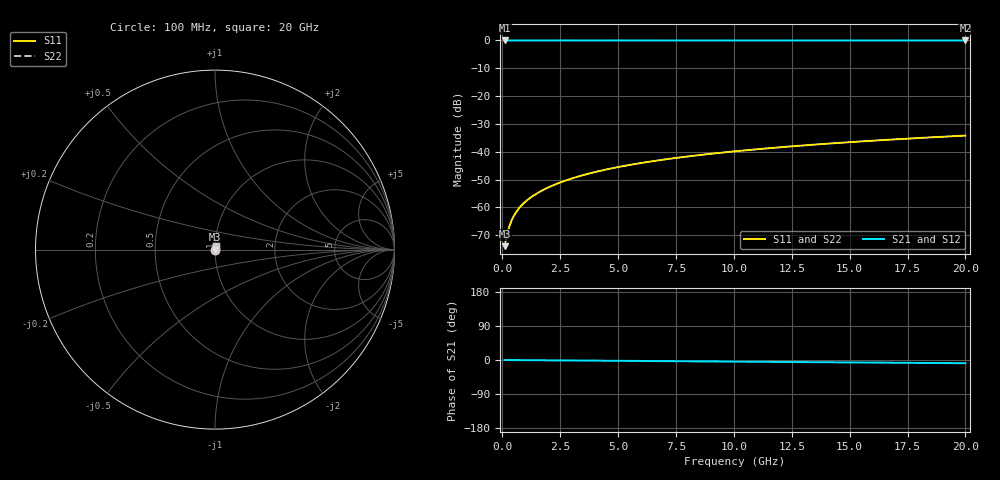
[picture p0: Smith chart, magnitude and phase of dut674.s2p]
! Touchstone file exported from HFSS 2026.1.0
!  File:  C:/ffzhzh/LocalFiles/Ansys_Project_Files/temp_train_TSV_674_1783027193_55676.aedt
!  Generated:  05:21:56 AM Jul  3, 2026
!  Design:  TSV
!  Project:  temp_train_TSV_674_1783027193_55676
! Variables:
!  h_bsmrdl = 2um
!  h_ox = 20um
!  h_rdl = 5um
!  h_sub = 84.27um
!  h_tmrdl = 5um
!  h_tsv = 84.27um
!  h_via = 3um
!  l_bsmrdl = 300um
!  l_sub = 419.1um
!  l_tmrdl = 200um
!  m_sub = 200um
!  pitch = 44.98um
!  r_tsv = 9.55um
!  s_tmrdl = 10um
!  w_bsmrdl = 18um
!  w_sub = 500um
!  w_tmrdl = 12um
!  x_tsv_center1 = 206um
!  x_tsv_center2 = 524um
!  x_tsv_center3 = 736um
!  x_tsv_center4 = 1054um
!  x_tsv_center5 = 1266um
!  x_tsv_center6 = 1584um
# GHz S MA R 50.000000
! Terminal data exported
! Port[1] = TSV1_1_T1
! Port[2] = TSV1_1_T2
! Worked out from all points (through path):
!   200 points, 100 MHz to 20 GHz, reference 50 ohm
!   highest |S21| = 0.00 dB at 100 MHz (marker M1); lowest = 0.0 dB at 20 GHz (marker M2)
!   group delay of S21, straight-line fit = 1.18 ps
!   lowest |S11| = -74.0 dB at 100 MHz (marker M3), VSWR 1.00, Z = 50 + j0.0142 ohm
!   |S11| at or under -10 dB: start of sweep to end of sweep
!   |S22| runs from -74.0 to -34.2 dB; largest |S21 - S12| = 2.1e-15
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0.1  0.0002003 45.0  0.9999 -0.0  0.9999 -0.0  0.0002003 45.0
! Gamma 0 0 0 0
! Port Impedance 50 0 50 0
0.2  0.0003201 61.3  0.9998 -0.1  0.9998 -0.1  0.0003201 61.3
0.3  0.0004495 67.5  0.9998 -0.1  0.9998 -0.1  0.0004495 67.5
0.4  0.0005779 70.4  0.9998 -0.2  0.9998 -0.2  0.0005779 70.4
0.5  0.0007023 71.9  0.9998 -0.2  0.9998 -0.2  0.0007023 71.9
0.6  0.0008222 72.8  0.9998 -0.3  0.9998 -0.3  0.0008222 72.7
0.7  0.0009378 73.4  0.9997 -0.3  0.9997 -0.3  0.0009378 73.4
0.8  0.00105 73.9  0.9997 -0.4  0.9997 -0.4  0.00105 73.9
1  0.001266 74.7  0.9997 -0.4  0.9997 -0.4  0.001266 74.7
1.4  0.00168 76.2  0.9996 -0.6  0.9996 -0.6  0.00168 76.2
1.7  0.001986 77.1  0.9996 -0.7  0.9996 -0.7  0.001986 77.1
2  0.00229 77.8  0.9995 -0.9  0.9995 -0.9  0.00229 77.8
2.7  0.002998 79.1  0.9995 -1.2  0.9995 -1.2  0.002998 79.1
3.5  0.003803 79.8  0.9994 -1.5  0.9994 -1.5  0.003803 79.8
4.2  0.004502 80.2  0.9994 -1.8  0.9994 -1.8  0.004502 80.2
5  0.005294 80.4  0.9993 -2.1  0.9993 -2.1  0.005294 80.4
6.8  0.00705 80.5  0.9992 -2.9  0.9992 -2.9  0.00705 80.5
8.3  0.008494 80.4  0.9991 -3.5  0.9991 -3.5  0.008494 80.4
10.1  0.01021 80.2  0.999 -4.3  0.999 -4.3  0.01021 80.2
13.4  0.01334 79.5  0.9988 -5.7  0.9988 -5.7  0.01334 79.5
16.7  0.01643 78.5  0.9986 -7.1  0.9986 -7.1  0.01643 78.5
20  0.01948 77.4  0.9984 -8.5  0.9984 -8.5  0.01948 77.4
